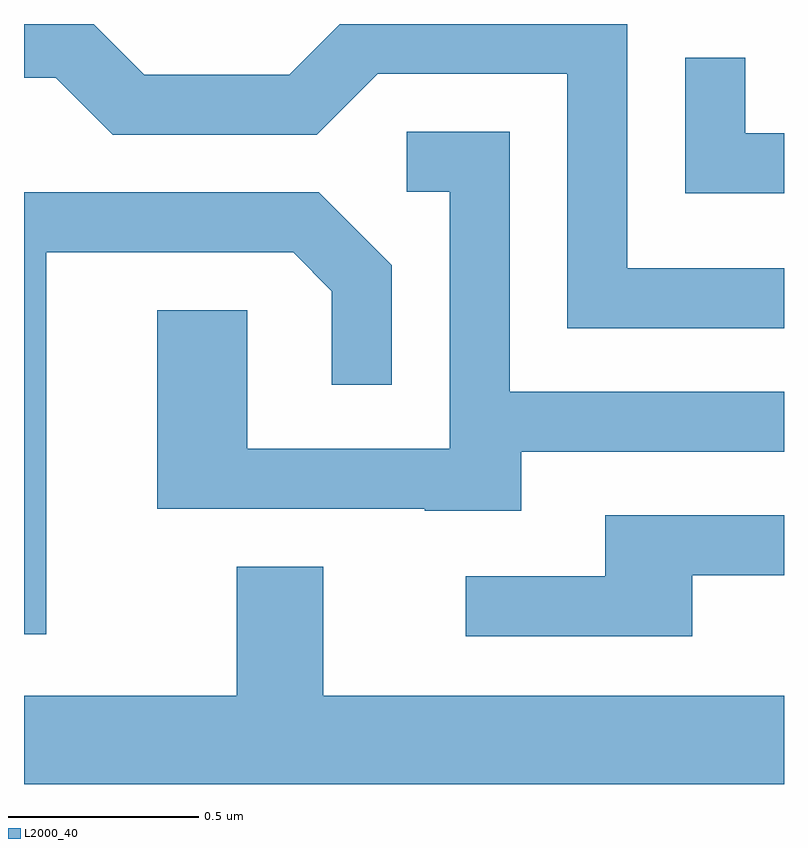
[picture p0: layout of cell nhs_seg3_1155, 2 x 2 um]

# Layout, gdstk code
import gdstk
lib = gdstk.Library(unit=1e-6, precision=1e-09)
def P(c, l, *ps):  # polygons
    for p in ps: c.add(gdstk.Polygon(p, *l))
L2000_40 = (2000, 40)

nhs_seg3_1155 = lib.new_cell('nhs_seg3_1155')
P(nhs_seg3_1155, L2000_40, [(195.611,1176.249),(195.199,1176.249),(195.199,1176.892),(194.442,1176.892),(194.309,1176.759),(193.927,1176.759),(193.794,1176.892),(193.611,1176.892),(193.611,1176.751),(193.694,1176.751),(193.844,1176.601),(194.382,1176.601),(194.542,1176.761),(195.041,1176.761),(195.041,1176.091),(195.611,1176.091)],
  [(195.611,1176.604),(195.509,1176.604),(195.509,1176.803),(195.351,1176.803),(195.351,1176.446),(195.611,1176.446)],
  [(194.919,1175.766),(195.611,1175.766),(195.611,1175.924),(194.889,1175.924),(194.889,1176.609),(194.618,1176.609),(194.618,1176.451),(194.731,1176.451),(194.731,1175.774),(194.199,1175.774),(194.199,1176.139),(193.961,1176.139),(193.961,1175.616),(194.665,1175.616),(194.665,1175.611),(194.919,1175.611)],
  [(193.669,1176.291),(194.319,1176.291),(194.421,1176.189),(194.421,1175.943),(194.579,1175.943),(194.579,1176.257),(194.387,1176.449),(193.611,1176.449),(193.611,1175.286),(193.669,1175.286)],
  [(195.369,1175.441),(195.611,1175.441),(195.611,1175.599),(195.141,1175.599),(195.141,1175.439),(194.773,1175.439),(194.773,1175.281),(195.369,1175.281)],
  [(195.611,1175.124),(194.399,1175.124),(194.399,1175.464),(194.171,1175.464),(194.171,1175.124),(193.611,1175.124),(193.611,1174.892),(195.611,1174.892)])

lib.write_gds('nhs_seg3_1155.gds')
